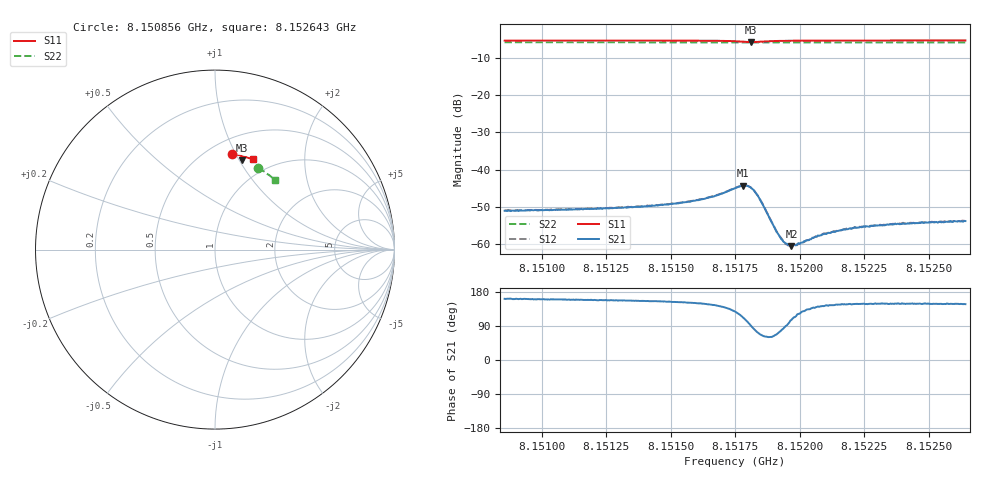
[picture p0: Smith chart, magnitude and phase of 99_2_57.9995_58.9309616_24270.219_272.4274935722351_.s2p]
#  HZ  S  RI  R  50.00
! Rohde & Schwarz Vector Network Analyzer
! Rohde-Schwarz,ZNB20-2Port,1311601062101988,3.16
! Created: UTC 3/21/2024, 12:54:44 AM
! freq[Hz]  re:S11  im:S11  re:S21  im:S21  re:S12  im:S12  re:S22  im:S22
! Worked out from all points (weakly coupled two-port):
!   401 points, 8.150856 GHz to 8.152643 GHz, reference 50 ohm
!   highest |S21| = -44.29 dB at 8.151781 GHz (marker M1); lowest = -60.6 dB at 8.151968 GHz (marker M2)
!   lowest |S11| = -5.7 dB at 8.151812 GHz (marker M3), VSWR 3.16, Z = 37.7 + j51.3 ohm
!   |S11| at or under -10 dB: nowhere
!   |S22| runs from -5.8 to -5.8 dB; largest |S21 - S12| = 0.00016
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8.1508561e9  0.0932 0.5344  -0.00266 0.000892  -0.00269 0.000902  0.2416 0.4543
8.1511554e9  0.1145 0.5308  -0.00276 0.00107  -0.00275 0.00114  0.2584 0.4445
8.1514546e9  0.1366 0.5254  -0.00301 0.00141  -0.00301 0.00147  0.2748 0.4341
8.151535e9  0.1429 0.5233  -0.00316 0.00164  -0.00316 0.00171  0.2792 0.4311
8.1516244e9  0.1509 0.5201  -0.00343 0.0021  -0.0034 0.00217  0.284 0.4279
8.1516735e9  0.1556 0.5172  -0.00363 0.00259  -0.00361 0.00271  0.2866 0.4259
8.1517494e9  0.1617 0.5069  -0.00346 0.00445  -0.00339 0.00452  0.2903 0.4229
8.1517807e9  0.1596 0.4996  -0.00233 0.00564  -0.00225 0.00571  0.2917 0.4214
8.1517986e9  0.155 0.4965  -0.00108 0.00592  -0.00094 0.00599  0.2925 0.4208
8.151812e9  0.1506 0.4965  2.37e-05 0.00567  9.51e-05 0.00573  0.2928 0.4203
8.1518298e9  0.1457 0.4996  0.00108 0.00474  0.00113 0.00475  0.2938 0.4198
8.1518477e9  0.1438 0.5043  0.00149 0.00357  0.00156 0.0036  0.2946 0.4194
8.1519013e9  0.149 0.5142  0.000739 0.00152  0.000778 0.00153  0.2976 0.4177
8.1519281e9  0.1526 0.5159  0.000249 0.00115  0.000296 0.00117  0.2991 0.4167
8.151946e9  0.155 0.5165  8.96e-06 0.00102  4.23e-06 0.000997  0.3 0.4162
8.1519683e9  0.1577 0.5168  -0.000254 0.000901  -0.000254 0.000946  0.3012 0.4152
8.1519951e9  0.1607 0.5169  -0.000535 0.00087  -0.000503 0.000886  0.3028 0.4142
8.1520487e9  0.1658 0.5164  -0.000883 0.000819  -0.000891 0.000827  0.3055 0.4121
8.1521023e9  0.1706 0.5156  -0.00111 0.000793  -0.00111 0.000841  0.3083 0.4099
8.1521782e9  0.1767 0.5141  -0.00131 0.000863  -0.00134 0.00088  0.312 0.4069
8.152348e9  0.1891 0.5103  -0.00155 0.00097  -0.00156 0.00099  0.3206 0.4002
8.1526428e9  0.2092 0.5033  -0.00172 0.0011  -0.0017 0.0011  0.335 0.3876
